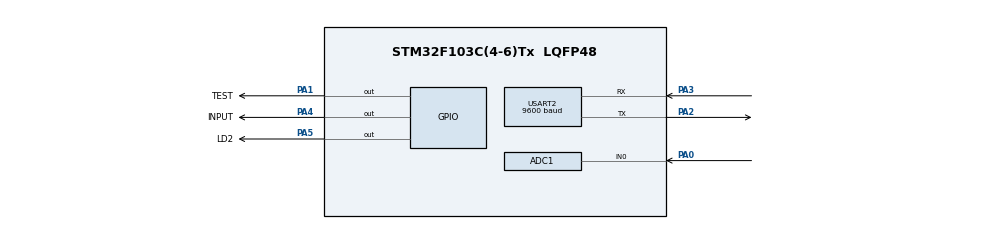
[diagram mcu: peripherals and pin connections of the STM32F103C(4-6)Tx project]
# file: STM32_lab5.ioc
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ADC1.Channel-1\#ChannelRegularConversion=ADC_CHANNEL_0
ADC1.ContinuousConvMode=ENABLE
ADC1.NbrOfConversion=1
ADC1.NbrOfConversionFlag=1
ADC1.Rank-1\#ChannelRegularConversion=1
ADC1.SamplingTime-1\#ChannelRegularConversion=ADC_SAMPLETIME_1CYCLE_5
ADC1.master=1
Mcu.Family=STM32F1
Mcu.Name=STM32F103C(4-6)Tx
Mcu.Package=LQFP48
NVIC.PriorityGroup=NVIC_PRIORITYGROUP_4
NVIC.TIM2_IRQn=true\:0\:0\:false\:false\:true\:true\:true
NVIC.USART2_IRQn=true\:0\:0\:false\:false\:true\:true\:true
PA0-WKUP.Signal=ADCx_IN0
PA1.GPIO_Label=TEST
PA1.Signal=GPIO_Output
PA2.Mode=Asynchronous
PA2.Signal=USART2_TX
PA3.Mode=Asynchronous
PA3.Signal=USART2_RX
PA4.GPIO_Label=INPUT
PA4.Signal=GPIO_Output
PA5.GPIO_Label=LD2
PA5.Signal=GPIO_Output
ProjectManager.HeapSize=0x200
ProjectManager.StackSize=0x400
ProjectManager.TargetToolchain=STM32CubeIDE
RCC.APB1Freq_Value=8000000
RCC.APB2Freq_Value=8000000
SH.ADCx_IN0.0=ADC1_IN0,IN0
TIM2.Period=7999
TIM2.Prescaler=7
USART2.BaudRate=9600
USART2.VirtualMode=VM_ASYNC
VP_SYS_VS_ND.Mode=No_Debug
VP_TIM2_VS_ClockSourceINT.Mode=Internal
board=custom

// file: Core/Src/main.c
/* USER CODE BEGIN Header */
/**
  ******************************************************************************
  * @file           : main.c
  * @brief          : Main program body
  ******************************************************************************
  * @attention
  *
  * <h2><center>&copy; Copyright (c) 2024 STMicroelectronics.
  * All rights reserved.</center></h2>
  *
  * This software component is licensed by ST under BSD 3-Clause license,
  * the "License"; You may not use this file except in compliance with the
  * License. You may obtain a copy of the License at:
  *                        opensource.org/licenses/BSD-3-Clause
  *
  ******************************************************************************
  */
/* USER CODE END Header */
#include "main.h"

/* USER CODE BEGIN Includes */
#include <stdio.h>
#include "UARTCommunicate.h"
#include "CommandParser.h"
#include "string.h"
#include <stdint.h>
#include <stdlib.h>
/* USER CODE END Includes */

ADC_HandleTypeDef hadc1;

TIM_HandleTypeDef htim2;

UART_HandleTypeDef huart2;

void SystemClock_Config(void);
static void MX_GPIO_Init(void);
static void MX_ADC1_Init(void);
static void MX_USART2_UART_Init(void);
static void MX_TIM2_Init(void);

/* USER CODE BEGIN 0 */
#define MAX_BUFFER_SIZE 30

uint8_t temp = 0;
uint8_t buffer[MAX_BUFFER_SIZE];
uint8_t index_buffer = 0;
uint8_t buffer_flag = 0;
uint8_t cmd_flag = 0;

void HAL_UART_RxCpltCallback(UART_HandleTypeDef *huart) {
    if (huart->Instance == USART2) {
        HAL_UART_Transmit(&huart2, &temp, 1, 50);
        buffer[index_buffer++] = temp;
        if (index_buffer == MAX_BUFFER_SIZE) {
            index_buffer = 0;
        }
        buffer_flag = 1;
        HAL_UART_Receive_IT(&huart2, &temp, 1);
    	HAL_GPIO_TogglePin(INPUT_GPIO_Port, INPUT_Pin);
    }
}

const float MAX_VOL = 8191.0;
const float REF_VOL = 3.3;

float ADC_VOL = 0;
uint32_t ADC_value = 0;
char str[30];
//
void floatToStr(float voltage, char *str, int precision) {
    int int_part = (int) voltage; // Extract integer part
    float float_part = voltage - int_part; // Extract decimal part

    // Convert integer part to string
    itoa(int_part, str, 10);

    // Find the end of the current string
    char *end = str;
    while (*end != '\0') end++;

    // Add decimal point
    *end++ = '.';

    // Convert decimal part to string
    for (int i = 0; i < precision; i++) {
        float_part *= 10;
        int digit = (int) float_part;
        *end++ = '0' + digit;
        float_part -= digit;
    }

    // Null-terminate the string
    *end = '\0';
}
//
void ADCConverter(){
	ADC_VOL = ((ADC_value / MAX_VOL) * REF_VOL);
}
uint16_t timer = 0;
uint8_t timer_flag = 0;
void HAL_TIM_PeriodElapsedCallback(TIM_HandleTypeDef *htim){

	if(timer < 500) timer++;
	else timer = 0;
	if(timer == 500){
		timer_flag = 1;
	}
}

/* USER CODE END 0 */

int main(void)
{

  /* MCU Configuration--------------------------------------------------------*/

  /* Reset of all peripherals, Initializes the Flash interface and the Systick. */
  HAL_Init();

  /* Configure the system clock */
  SystemClock_Config();

  /* Initialize all configured peripherals */
  MX_GPIO_Init();
  MX_ADC1_Init();
  MX_USART2_UART_Init();
  MX_TIM2_Init();
  /* USER CODE BEGIN 2 */
  HAL_ADC_Init(&hadc1);
  HAL_ADC_Start(&hadc1);
  HAL_UART_Receive_IT(&huart2, &temp, 1);
  HAL_TIM_Base_Start_IT(&htim2);
  /* USER CODE END 2 */

  /* Infinite loop */
  while (1)
  {

    /* USER CODE BEGIN 3 */
	    HAL_Delay(500);
	    HAL_GPIO_TogglePin(LD2_GPIO_Port, LD2_Pin);

//	    ADC_value = HAL_ADC_GetValue(&hadc1);
//	    floatToStr(ADC_value, str, 2);
////	    HAL_UART_Transmit(&huart2, (void *)str, sprintf(str, "%d \n", (float)ADC_value), 1000);
//	    HAL_UART_Transmit(&huart2, (void *)str, sizeof(str), 1000);

	    if(buffer_flag == 1){
	    	command_parser_fsm();
	    	buffer_flag = 0;
	    }
	    UART_communication();
  }
  /* USER CODE END 3 */
}

void SystemClock_Config(void)
{
  RCC_OscInitTypeDef RCC_OscInitStruct = {0};
  RCC_ClkInitTypeDef RCC_ClkInitStruct = {0};
  RCC_PeriphCLKInitTypeDef PeriphClkInit = {0};

  /** Initializes the RCC Oscillators according to the specified parameters
  * in the RCC_OscInitTypeDef structure.
  */
  RCC_OscInitStruct.OscillatorType = RCC_OSCILLATORTYPE_HSI;
  RCC_OscInitStruct.HSIState = RCC_HSI_ON;
  RCC_OscInitStruct.HSICalibrationValue = RCC_HSICALIBRATION_DEFAULT;
  RCC_OscInitStruct.PLL.PLLState = RCC_PLL_NONE;
  if (HAL_RCC_OscConfig(&RCC_OscInitStruct) != HAL_OK)
  {
    Error_Handler();
  }
  /** Initializes the CPU, AHB and APB buses clocks
  */
  RCC_ClkInitStruct.ClockType = RCC_CLOCKTYPE_HCLK|RCC_CLOCKTYPE_SYSCLK
                              |RCC_CLOCKTYPE_PCLK1|RCC_CLOCKTYPE_PCLK2;
  RCC_ClkInitStruct.SYSCLKSource = RCC_SYSCLKSOURCE_HSI;
  RCC_ClkInitStruct.AHBCLKDivider = RCC_SYSCLK_DIV1;
  RCC_ClkInitStruct.APB1CLKDivider = RCC_HCLK_DIV1;
  RCC_ClkInitStruct.APB2CLKDivider = RCC_HCLK_DIV1;

  if (HAL_RCC_ClockConfig(&RCC_ClkInitStruct, FLASH_LATENCY_0) != HAL_OK)
  {
    Error_Handler();
  }
  PeriphClkInit.PeriphClockSelection = RCC_PERIPHCLK_ADC;
  PeriphClkInit.AdcClockSelection = RCC_ADCPCLK2_DIV2;
  if (HAL_RCCEx_PeriphCLKConfig(&PeriphClkInit) != HAL_OK)
  {
    Error_Handler();
  }
}

static void MX_ADC1_Init(void)
{

  ADC_ChannelConfTypeDef sConfig = {0};

  /** Common config
  */
  hadc1.Instance = ADC1;
  hadc1.Init.ScanConvMode = ADC_SCAN_DISABLE;
  hadc1.Init.ContinuousConvMode = ENABLE;
  hadc1.Init.DiscontinuousConvMode = DISABLE;
  hadc1.Init.ExternalTrigConv = ADC_SOFTWARE_START;
  hadc1.Init.DataAlign = ADC_DATAALIGN_RIGHT;
  hadc1.Init.NbrOfConversion = 1;
  if (HAL_ADC_Init(&hadc1) != HAL_OK)
  {
    Error_Handler();
  }
  /** Configure Regular Channel
  */
  sConfig.Channel = ADC_CHANNEL_0;
  sConfig.Rank = ADC_REGULAR_RANK_1;
  sConfig.SamplingTime = ADC_SAMPLETIME_1CYCLE_5;
  if (HAL_ADC_ConfigChannel(&hadc1, &sConfig) != HAL_OK)
  {
    Error_Handler();
  }

}

static void MX_TIM2_Init(void)
{

  TIM_ClockConfigTypeDef sClockSourceConfig = {0};
  TIM_MasterConfigTypeDef sMasterConfig = {0};

  htim2.Instance = TIM2;
  htim2.Init.Prescaler = 7;
  htim2.Init.CounterMode = TIM_COUNTERMODE_UP;
  htim2.Init.Period = 7999;
  htim2.Init.ClockDivision = TIM_CLOCKDIVISION_DIV1;
  htim2.Init.AutoReloadPreload = TIM_AUTORELOAD_PRELOAD_DISABLE;
  if (HAL_TIM_Base_Init(&htim2) != HAL_OK)
  {
    Error_Handler();
  }
  sClockSourceConfig.ClockSource = TIM_CLOCKSOURCE_INTERNAL;
  if (HAL_TIM_ConfigClockSource(&htim2, &sClockSourceConfig) != HAL_OK)
  {
    Error_Handler();
  }
  sMasterConfig.MasterOutputTrigger = TIM_TRGO_RESET;
  sMasterConfig.MasterSlaveMode = TIM_MASTERSLAVEMODE_DISABLE;
  if (HAL_TIMEx_MasterConfigSynchronization(&htim2, &sMasterConfig) != HAL_OK)
  {
    Error_Handler();
  }

}

static void MX_USART2_UART_Init(void)
{

  huart2.Instance = USART2;
  huart2.Init.BaudRate = 9600;
  huart2.Init.WordLength = UART_WORDLENGTH_8B;
  huart2.Init.StopBits = UART_STOPBITS_1;
  huart2.Init.Parity = UART_PARITY_NONE;
  huart2.Init.Mode = UART_MODE_TX_RX;
  huart2.Init.HwFlowCtl = UART_HWCONTROL_NONE;
  huart2.Init.OverSampling = UART_OVERSAMPLING_16;
  if (HAL_UART_Init(&huart2) != HAL_OK)
  {
    Error_Handler();
  }

}

static void MX_GPIO_Init(void)
{
  GPIO_InitTypeDef GPIO_InitStruct = {0};

  /* GPIO Ports Clock Enable */
  __HAL_RCC_GPIOA_CLK_ENABLE();

  /*Configure GPIO pin Output Level */
  HAL_GPIO_WritePin(GPIOA, TEST_Pin|INPUT_Pin|LD2_Pin, GPIO_PIN_RESET);

  /*Configure GPIO pins : TEST_Pin INPUT_Pin LD2_Pin */
  GPIO_InitStruct.Pin = TEST_Pin|INPUT_Pin|LD2_Pin;
  GPIO_InitStruct.Mode = GPIO_MODE_OUTPUT_PP;
  GPIO_InitStruct.Pull = GPIO_NOPULL;
  GPIO_InitStruct.Speed = GPIO_SPEED_FREQ_LOW;
  HAL_GPIO_Init(GPIOA, &GPIO_InitStruct);

}

void Error_Handler(void)
{
  __disable_irq();
  while (1)
  {
  }
}

/************************ (C) COPYRIGHT STMicroelectronics *****END OF FILE****/
